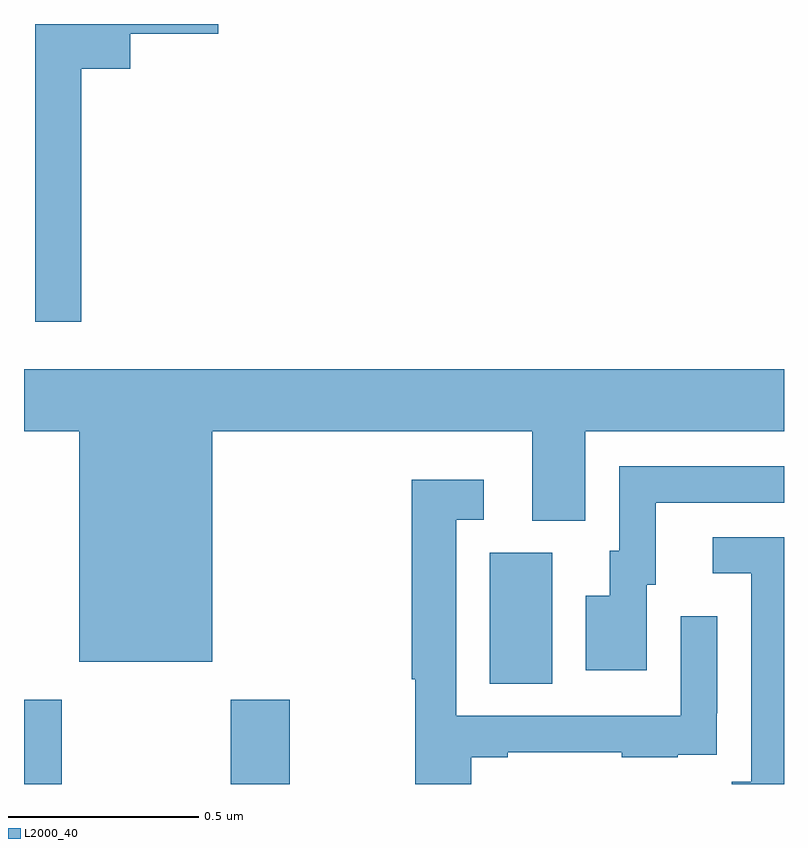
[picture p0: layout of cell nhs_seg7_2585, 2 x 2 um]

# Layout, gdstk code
import gdstk
lib = gdstk.Library(unit=1e-6, precision=1e-09)
def R(c, l, rs):  # rectangles x0, y0, x1, y1
    for r in rs: c.add(gdstk.rectangle(r[:2], r[2:], *l))
def P(c, l, *ps):  # polygons
    for p in ps: c.add(gdstk.Polygon(p, *l))
L2000_40 = (2000, 40)

nhs_seg7_2585 = lib.new_cell('nhs_seg7_2585')
R(nhs_seg7_2585, L2000_40, [(147,1021,147.099,1021.222), (147.544,1021,147.699,1021.222), (148.226,1021.264,148.39,1021.608)])
P(nhs_seg7_2585, L2000_40, [(147.151,1022.882),(147.28,1022.882),(147.28,1022.975),(147.511,1022.975),(147.511,1023),(147.029,1023),(147.029,1022.217),(147.151,1022.217)],
  [(147.496,1021.928),(148.337,1021.928),(148.337,1021.693),(148.477,1021.693),(148.477,1021.928),(149,1021.928),(149,1022.092),(147,1022.092),(147,1021.928),(147.146,1021.928),(147.146,1021.322),(147.496,1021.322)],
  [(148.639,1021.524),(148.663,1021.524),(148.663,1021.74),(149,1021.74),(149,1021.836),(148.566,1021.836),(148.566,1021.614),(148.541,1021.614),(148.541,1021.495),(148.478,1021.495),(148.478,1021.299),(148.639,1021.299)],
  [(148.177,1021.071),(148.273,1021.071),(148.273,1021.083),(148.573,1021.083),(148.573,1021.071),(148.721,1021.071),(148.721,1021.077),(148.823,1021.077),(148.823,1021.186),(148.824,1021.186),(148.824,1021.441),(148.728,1021.441),(148.728,1021.179),(148.137,1021.179),(148.137,1021.695),(148.21,1021.695),(148.21,1021.801),(148.021,1021.801),(148.021,1021.276),(148.029,1021.276),(148.029,1021),(148.177,1021)],
  [(149,1021.65),(148.812,1021.65),(148.812,1021.554),(148.914,1021.554),(148.914,1021.006),(148.863,1021.006),(148.863,1021),(149,1021)])

lib.write_gds('nhs_seg7_2585.gds')
